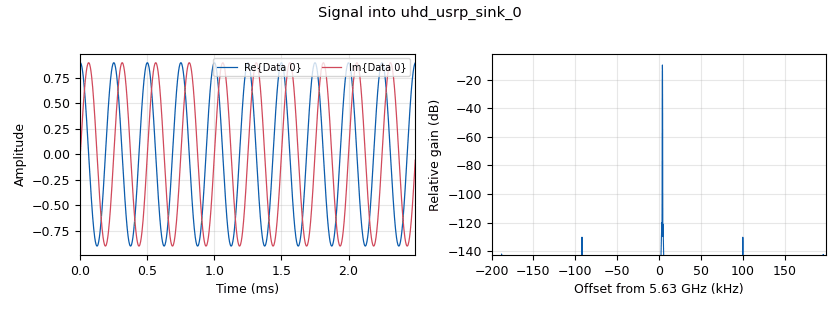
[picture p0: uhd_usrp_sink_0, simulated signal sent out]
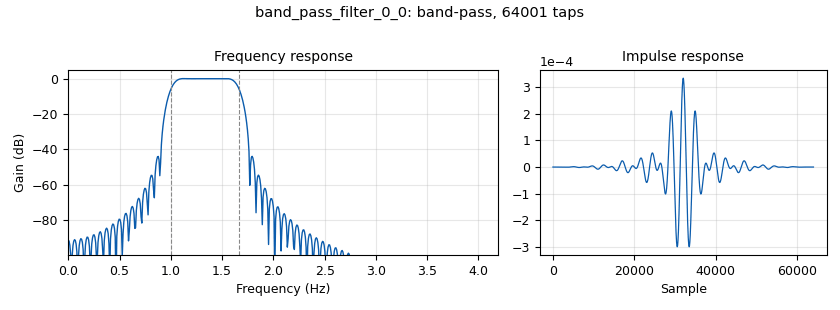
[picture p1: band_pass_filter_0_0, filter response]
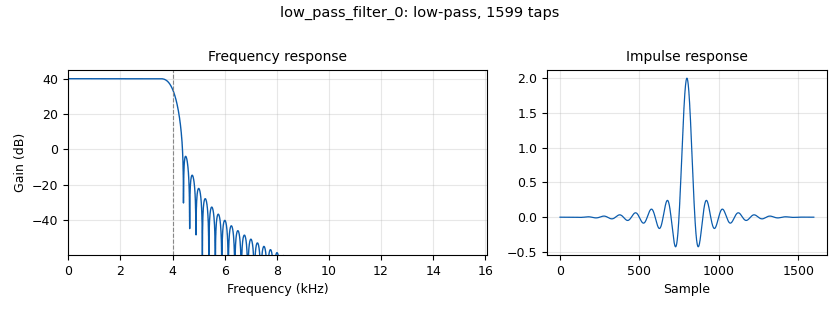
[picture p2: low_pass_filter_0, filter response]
options:
  parameters:
    generate_options: qt_gui
    id: PruebaFiltros
    output_language: python
    title: Prueba Filtros
  states: {}

blocks:
- name: M
  id: variable
  parameters:
    value: '100'
  states: {}
- name: amplitude
  id: variable
  parameters:
    value: '900e-3'
  states: {}
- name: fft_size
  id: variable
  parameters:
    comment: |-
      Techo de la
      potencia más
      cercana
      o Límite
    value: '1024'
  states: {}
- name: freq
  id: variable
  parameters:
    value: 5.63e9
  states: {}
- name: freq_tone
  id: variable
  parameters:
    value: samp_rate/100
  states: {}
- name: max_fre_vital_signals
  id: variable
  parameters:
    value: max( max_hea_rat, max_res_rat)
  states: {}
- name: max_hea_rat
  id: variable
  parameters:
    value: 100/60
  states: {}
- name: max_res_rat
  id: variable
  parameters:
    value: 20/60
  states: {}
- name: min_hea_rat
  id: variable
  parameters:
    value: 60/60
  states: {}
- name: min_res_rat
  id: variable
  parameters:
    value: 8/60
  states: {}
- name: n_periodos_tiempo
  id: variable
  parameters:
    value: int( np.ceil(  periodos_tiempo*samp_rate/freq_tone ) )
  states: {}
- name: periodos_tiempo
  id: variable
  parameters:
    value: '10'
  states: {}
- name: rx_gain
  id: variable_qtgui_range
  parameters:
    start: '0'
    step: '1'
    stop: '50'
    value: '42'
  states: {}
- name: samp_rate
  id: variable
  parameters:
    value: 400e3
  states: {}
- name: t
  id: variable
  parameters:
    comment: |-
      Seconds 
      sampling
    value: 1/min_res_rat
  states: {}
- name: tx_gain
  id: variable_qtgui_range
  parameters:
    start: '0'
    step: '1'
    stop: '50'
    value: '43'
  states: {}
- name: analog_sig_source_x_0
  id: analog_sig_source_x
  parameters:
    amp: '900e-3'
    freq: freq_tone
    offset: '0'
    phase: '0'
    samp_rate: samp_rate
    type: complex
    waveform: analog.GR_SIN_WAVE
  states: {}
- name: band_pass_filter_0
  id: band_pass_filter
  parameters:
    decim: '1'
    gain: '1'
    high_cutoff_freq: max_res_rat
    low_cutoff_freq: min_res_rat
    samp_rate: samp_rate/M
    type: fir_filter_fff
    width: min(min_res_rat, max_res_rat)/8
    win: window.WIN_HANN
  states: {}
- name: band_pass_filter_0_0
  id: band_pass_filter
  parameters:
    decim: '1'
    gain: '1'
    high_cutoff_freq: max_hea_rat
    low_cutoff_freq: min_hea_rat
    samp_rate: samp_rate/M
    type: fir_filter_fff
    width: min(min_hea_rat, max_hea_rat)/8
    win: window.WIN_HANN
  states: {}
- name: blocks_complex_to_arg_1
  id: blocks_complex_to_arg
  parameters: {}
  states: {}
- name: blocks_multiply_conjugate_cc_1
  id: blocks_multiply_conjugate_cc
  parameters: {}
  states: {}
- name: blocks_stream_to_vector_0
  id: blocks_stream_to_vector
  parameters:
    num_items: fft_size
    type: float
  states: {state: disabled}
- name: blocks_vector_to_stream_0
  id: blocks_vector_to_stream
  parameters:
    num_items: fft_size
    type: float
  states: {state: disabled}
- name: epy_block_0
  id: epy_block
  parameters:
    _source_code: |
      """
      Embedded Python Blocks:

      Each time this file is saved, GRC will instantiate the first class it finds
      to get ports and parameters of your block. The arguments to __init__  will
      be the parameters. All of them are required to have default values!
      """

      import numpy as np
      from gnuradio import gr


      class blk(gr.sync_block):  # other base classes are basic_block, decim_block, interp_block
          """Embedded Python Block example - a simple multiply const"""

          def __init__(self, vectorSize=2**13):  # only default arguments here
              """arguments to this function show up as parameters in GRC"""
              gr.sync_block.__init__(
                  self,
                  name='Mean Block',   # will show up in GRC
                  in_sig=[(np.float32, vectorSize)],
                  out_sig=[(np.float32, vectorSize)]
              )
              # if an attribute with the same name as a parameter is found,
              # a callback is registered (properties work, too).

          def work(self, input_items, output_items):
              output_items[0][:] = input_items[0][:] - np.mean(input_items[0][:])
              return len(output_items[0])
    vectorSize: fft_size
  states: {state: disabled}
- name: import_0
  id: import
  parameters:
    imports: import numpy as np
  states: {}
- name: low_pass_filter_0
  id: low_pass_filter
  parameters:
    cutoff_freq: max_fre_vital_signals+freq_tone
    decim: '1'
    gain: '100'
    samp_rate: samp_rate
    type: fir_filter_ccf
    width: (max_fre_vital_signals+freq_tone)/8
    win: window.WIN_HANN
  states: {}
- name: note_0
  id: note
  parameters:
    note: Input and output signals
  states: {}
- name: note_1
  id: note
  parameters:
    note: Argument processing
  states: {}
- name: qtgui_freq_sink_x_0
  id: qtgui_freq_sink_x
  parameters:
    bw: samp_rate/M
    fc: '0'
    fftsize: fft_size
    name: '"Phase Frequency"'
    type: float
    wintype: window.WIN_HANN
  states: {state: disabled}
- name: qtgui_freq_sink_x_0_1
  id: qtgui_freq_sink_x
  parameters:
    bw: samp_rate/M
    fc: '0'
    fftsize: fft_size
    name: '"Phase Frequency Respiration and Heart"'
    nconnections: '2'
    type: float
    wintype: window.WIN_HANN
  states: {}
- name: qtgui_freq_sink_x_0_1_0_0
  id: qtgui_freq_sink_x
  parameters:
    bw: samp_rate
    fc: '0'
    fftsize: fft_size
    maxoutbuf: int( fft_size*3/4 )
    minoutbuf: int( fft_size/4 )
    name: '"Phase Frequency Sign Vitals"'
    type: float
    wintype: window.WIN_HANN
  states: {}
- name: qtgui_freq_sink_x_0_1_0_0_0
  id: qtgui_freq_sink_x
  parameters:
    bw: samp_rate
    fc: '0'
    fftsize: fft_size
    maxoutbuf: int( fft_size*3/4 )
    minoutbuf: int( fft_size/4 )
    name: '"FFT s_in and s_out"'
    nconnections: '2'
    type: complex
    wintype: window.WIN_HANN
  states: {}
- name: qtgui_time_sink_x_2
  id: qtgui_time_sink_x
  parameters:
    name: '"Time s_in and s_out"'
    nconnections: '2'
    size: n_periodos_tiempo
    srate: samp_rate
    type: complex
  states: {}
- name: rational_resampler_xxx_0
  id: rational_resampler_xxx
  parameters:
    decim: M
    interp: '1'
    type: ccc
  states: {}
- name: uhd_usrp_sink_0
  id: uhd_usrp_sink
  parameters:
    ant0: '"TX/RX"'
    bw0: samp_rate
    center_freq0: freq
    gain0: tx_gain
    samp_rate: samp_rate
    sync: sync
    type: fc32
  states: {}
- name: uhd_usrp_source_0
  id: uhd_usrp_source
  parameters:
    ant0: '"RX2"'
    center_freq0: freq
    gain0: rx_gain
    samp_rate: samp_rate
    sync: none
    type: fc32
  states: {}
- name: virtual_sink_0
  id: virtual_sink
  parameters:
    stream_id: s_out
  states: {}
- name: virtual_sink_1
  id: virtual_sink
  parameters:
    stream_id: Arg
  states: {}
- name: virtual_sink_2
  id: virtual_sink
  parameters:
    stream_id: s_in
  states: {}
- name: virtual_source_0
  id: virtual_source
  parameters:
    stream_id: s_out
  states: {}
- name: virtual_source_0_0
  id: virtual_source
  parameters:
    stream_id: s_out
  states: {}
- name: virtual_source_0_0_0
  id: virtual_source
  parameters:
    stream_id: s_out
  states: {}
- name: virtual_source_1
  id: virtual_source
  parameters:
    stream_id: Arg
  states: {}
- name: virtual_source_1_0
  id: virtual_source
  parameters:
    stream_id: Arg
  states: {}
- name: virtual_source_1_0_0
  id: virtual_source
  parameters:
    stream_id: Arg
  states: {}
- name: virtual_source_2
  id: virtual_source
  parameters:
    stream_id: s_in
  states: {}
- name: virtual_source_2_0
  id: virtual_source
  parameters:
    stream_id: s_in
  states: {}

connections:
- [analog_sig_source_x_0, '0', uhd_usrp_sink_0, '0']
- [analog_sig_source_x_0, '0', virtual_sink_0, '0']
- [band_pass_filter_0, '0', qtgui_freq_sink_x_0_1, '0']
- [band_pass_filter_0_0, '0', qtgui_freq_sink_x_0_1, '1']
- [blocks_complex_to_arg_1, '0', virtual_sink_1, '0']
- [blocks_multiply_conjugate_cc_1, '0', rational_resampler_xxx_0, '0']
- [blocks_stream_to_vector_0, '0', epy_block_0, '0']
- [blocks_vector_to_stream_0, '0', qtgui_freq_sink_x_0, '0']
- [epy_block_0, '0', blocks_vector_to_stream_0, '0']
- [low_pass_filter_0, '0', blocks_multiply_conjugate_cc_1, '0']
- [low_pass_filter_0, '0', virtual_sink_2, '0']
- [rational_resampler_xxx_0, '0', blocks_complex_to_arg_1, '0']
- [uhd_usrp_source_0, '0', low_pass_filter_0, '0']
- [virtual_source_0, '0', blocks_multiply_conjugate_cc_1, '1']
- [virtual_source_0_0, '0', qtgui_time_sink_x_2, '1']
- [virtual_source_0_0_0, '0', qtgui_freq_sink_x_0_1_0_0_0, '1']
- [virtual_source_1, '0', band_pass_filter_0, '0']
- [virtual_source_1_0, '0', band_pass_filter_0_0, '0']
- [virtual_source_1_0_0, '0', qtgui_freq_sink_x_0_1_0_0, '0']
- [virtual_source_2, '0', qtgui_time_sink_x_2, '0']
- [virtual_source_2_0, '0', qtgui_freq_sink_x_0_1_0_0_0, '0']

metadata:
  file_format: 1
  grc_version: 3.10.8.0
